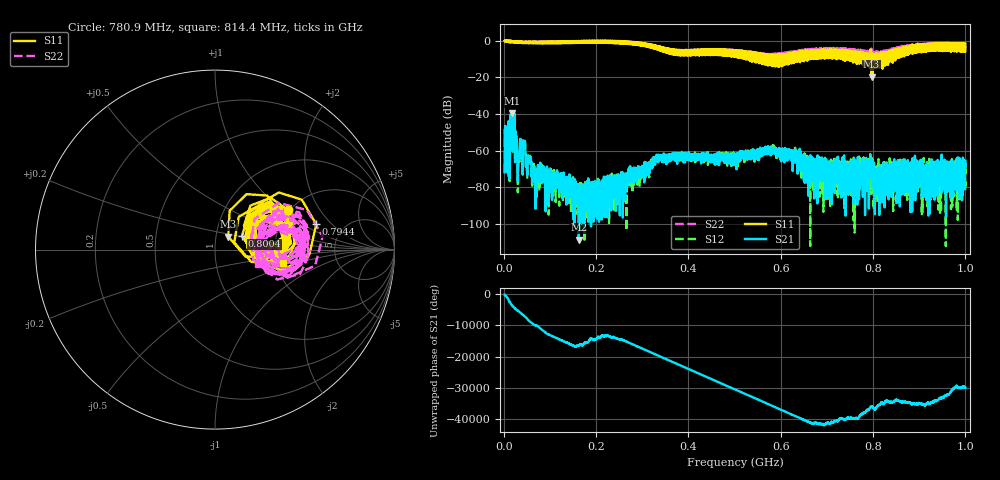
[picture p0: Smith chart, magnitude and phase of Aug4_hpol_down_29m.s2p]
!Keysight Technologies N9923A: A.12.45
!Date: Tuesday, 05 August 2025 18:37:03
!Timezone: (UTC+08:00) Kuala Lumpur, Singapore
!Model: N9923A
!Serial: MY61181427
!GPS Latitude:
!GPS Longitude:
!GPS TimeStamp: 0001-01-01 00:00:00Z
!GPS Seconds Since Last Read: 0
!CHECKSUM:1721737261
!Correction: S11(ON U)S21(ON U)S12(ON U)S22(ON U)
!S2P File: Measurements:S11,S21,S12,S22:
# Hz S DB R 50
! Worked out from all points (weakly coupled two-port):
!   4001 points, 2 MHz to 1 GHz, reference 50 ohm
!   highest |S21| = -39.75 dB at 17.72 MHz (marker M1); lowest = -108.8 dB at 162.7 MHz (marker M2)
!   lowest |S11| = -19.7 dB at 796.9 MHz (marker M3), VSWR 1.23, Z = 57.3 + j8.35 ohm
!   |S11| at or under -10 dB: 569.1131 MHz to 569.8829 MHz (769.7 kHz wide, 0.135 % of centre); 584.2698 MHz to 585.1209 MHz (851.1 kHz wide, 0.146 % of centre); 597.7854 MHz to 598.5628 MHz (777.3 kHz wide, 0.13 % of centre)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
!   |S22| runs from -13.9 to 0.1 dB; largest |S21 - S12| = 0.0012
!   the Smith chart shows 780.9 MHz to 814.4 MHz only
!   S11 on the Smith chart (normalised r, x): 780.9 MHz: 1.96, +1.10; 794.4 MHz: 3.15, +1.34; 800.4 MHz: 1.33, +0.21; 814.4 MHz: 2.17, -0.37
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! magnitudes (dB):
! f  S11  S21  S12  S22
! 2 MHz  -0.1  -72.0  -71.6  -0.1
! 17.72 MHz  -0.9  -39.8  -39.8  -1.1
! 22.46 MHz  -0.8  -47.3  -47.2  -0.8
! 29.69 MHz  -0.7  -64.3  -63.4  -0.6
! 41.67 MHz  -0.7  -57.6  -57.8  -0.5
! 66.37 MHz  -1.1  -69.2  -69.5  -1.1
! 83.34 MHz  -0.8  -77.9  -74.3  -0.8
! 162.7 MHz  -0.2  -108.8  -83.3  -0.1
! 168.4 MHz  -1.2  -92.0  -87.9  -1.0
! 262.5 MHz  -1.6  -72.8  -81.1  -1.4
! 334.8 MHz  -4.0  -64.2  -64.0  -4.6
! 501 MHz  -6.1  -62.8  -65.6  -6.8
! 583.6 MHz  -8.3  -60.8  -59.1  -10.0
! 667.4 MHz  -8.9  -70.0  -77.3  -8.5
! 780.9 MHz  -6.7  -74.0  -77.1  -6.5
! 794.4 MHz  -4.7  -68.7  -74.5  -7.8
! 796.9 MHz  -19.7  -69.7  -66.4  -7.1
! 800.4 MHz  -15.5  -71.6  -73.7  -9.1
! 814.4 MHz  -8.3  -71.9  -71.9  -11.9
! 833.8 MHz  -8.8  -74.2  -73.5  -5.5
! 973.3 MHz  -1.9  -76.8  -75.8  -1.6
! 1 GHz  -1.6  -65.7  -68.7  -3.1
